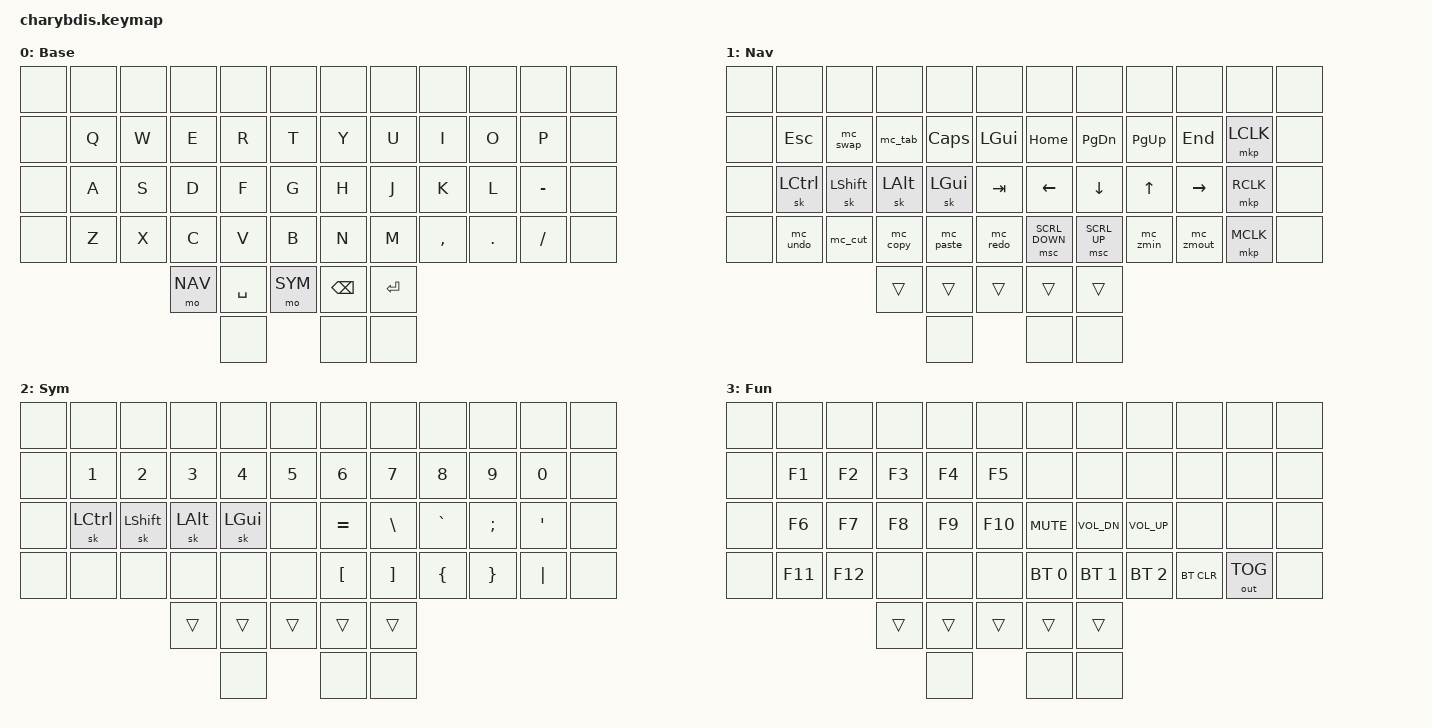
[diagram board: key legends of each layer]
/*
 * Charybdis Nano OSM keymap
 * hold-tap 完全排除、Callum式 One-Shot ベース
 * Corne と同じ設計
 */

#include <dt-bindings/zmk/mouse.h>
#include <behaviors.dtsi>
#include <dt-bindings/zmk/bt.h>
#include <dt-bindings/zmk/keys.h>
#include <dt-bindings/zmk/outputs.h>

#define BASE 0
#define NAV  1
#define SYM  2
#define FUN  3

/ {
    // --- Macros ---
    macros {
        // Swapper（Cmd+Tab: キーを離すまでCmdを保持）
        mc_swap: mc_swap {
            compatible = "zmk,behavior-macro";
            #binding-cells = <0>;
            wait-ms = <30>;
            tap-ms = <30>;
            bindings = <&macro_press &kp LGUI>, <&macro_tap &kp TAB>, <&macro_pause_for_release>, <&macro_release &kp LGUI>;
        };
        // Tabber（Ctrl+Tab: キーを離すまでCtrlを保持）
        mc_tab: mc_tab {
            compatible = "zmk,behavior-macro";
            #binding-cells = <0>;
            wait-ms = <30>;
            tap-ms = <30>;
            bindings = <&macro_press &kp LCTRL>, <&macro_tap &kp TAB>, <&macro_pause_for_release>, <&macro_release &kp LCTRL>;
        };
        // Undo (Cmd+Z)
        mc_undo: mc_undo {
            compatible = "zmk,behavior-macro";
            #binding-cells = <0>;
            wait-ms = <30>;
            tap-ms = <30>;
            bindings = <&macro_press &kp LGUI>, <&macro_tap &kp Z>, <&macro_release &kp LGUI>;
        };
        // Cut (Cmd+X)
        mc_cut: mc_cut {
            compatible = "zmk,behavior-macro";
            #binding-cells = <0>;
            wait-ms = <30>;
            tap-ms = <30>;
            bindings = <&macro_press &kp LGUI>, <&macro_tap &kp X>, <&macro_release &kp LGUI>;
        };
        // Copy (Cmd+C)
        mc_copy: mc_copy {
            compatible = "zmk,behavior-macro";
            #binding-cells = <0>;
            wait-ms = <30>;
            tap-ms = <30>;
            bindings = <&macro_press &kp LGUI>, <&macro_tap &kp C>, <&macro_release &kp LGUI>;
        };
        // Paste (Cmd+V)
        mc_paste: mc_paste {
            compatible = "zmk,behavior-macro";
            #binding-cells = <0>;
            wait-ms = <30>;
            tap-ms = <30>;
            bindings = <&macro_press &kp LGUI>, <&macro_tap &kp V>, <&macro_release &kp LGUI>;
        };
        // Redo (Cmd+Shift+Z)
        mc_redo: mc_redo {
            compatible = "zmk,behavior-macro";
            #binding-cells = <0>;
            wait-ms = <30>;
            tap-ms = <30>;
            bindings = <&macro_press &kp LGUI>, <&macro_press &kp LSHFT>, <&macro_tap &kp Z>, <&macro_release &kp LSHFT>, <&macro_release &kp LGUI>;
        };
        // Zoom In (Cmd+=)
        mc_zmin: mc_zmin {
            compatible = "zmk,behavior-macro";
            #binding-cells = <0>;
            wait-ms = <30>;
            tap-ms = <30>;
            bindings = <&macro_press &kp LGUI>, <&macro_tap &kp EQUAL>, <&macro_release &kp LGUI>;
        };
        // Zoom Out (Cmd+-)
        mc_zmout: mc_zmout {
            compatible = "zmk,behavior-macro";
            #binding-cells = <0>;
            wait-ms = <30>;
            tap-ms = <30>;
            bindings = <&macro_press &kp LGUI>, <&macro_tap &kp MINUS>, <&macro_release &kp LGUI>;
        };
    };

    // --- Combos ---
    // Charybdis key positions:
    // Row 0:  0  1  2  3  4  5  |  6  7  8  9 10 11  (unused)
    // Row 1: 12 13 14 15 16 17  | 18 19 20 21 22 23
    // Row 2: 24 25 26 27 28 29  | 30 31 32 33 34 35
    // Row 3: 36 37 38 39 40 41  | 42 43 44 45 46 47
    // Thumb:       48 49 50     |    51 52
    //              NAV SPC SYM  |  BSPC ENT
    // Extra:          53        |    54 55
    combos {
        compatible = "zmk,combos";


        // J + K → Caps Word（2026-11-12 緒方さん指示でコンボ化）
        // 旧: NAV層のキーに置いていた / 旧 D+F の tmux prefix コンボは廃止（「pdf」で誤発火）
        combo_caps_word {
            timeout-ms = <80>;
            require-prior-idle-ms = <150>;
            key-positions = <31 32>;
            bindings = <&caps_word>;
            layers = <BASE>;
        };

        // SPC(49) + BSPC(51) → LNG1 (IME ON)
        combo_lng1 {
            timeout-ms = <50>;
            require-prior-idle-ms = <150>;
            key-positions = <49 51>;
            bindings = <&kp LANGUAGE_1>;
            layers = <BASE>;
        };

        // BSPC(51) + ENT(52) → LNG2 (IME OFF)
        combo_lng2 {
            timeout-ms = <50>;
            require-prior-idle-ms = <150>;
            key-positions = <51 52>;
            bindings = <&kp LANGUAGE_2>;
            layers = <BASE>;
        };

        // --- ブートローダー / リセット（物理リセットボタンの代替） ---
        // 押しづらい基板上のリセットボタンを3キー同時押しで代替する。
        // 「上段の最外列 ＋ 下段の最内列」の2キーは共通で、**親指をずらすだけ**で
        // bootloader / sys_reset を切り替える（指の形がほぼ同じで覚えやすい）。
        //
        //   親指 内側         → &bootloader（焼き用・リセットボタン2回押し相当）
        // ⚠️ 親指の物理配置（2026-11-12 緒方さん確認。キーマップの並び順と内外が逆）:
        //     左手 [NAV][SPC][SYM] │ 中央 │ [BSPC][ENT] 右手
        //           外側 →→→ 内側          内側 ←←← 外側
        //   ＝ **内側(中央寄り)は 左=SYM / 右=BSPC**。NAV は左の一番外側。
        //   親指 内側から2番目 → &sys_reset （再起動・リセットボタン1回押し相当）
        //
        // ★各コンボは「同じ半身のキーだけ」で構成している。USBで片側だけ繋いで焼く
        //   運用でも、その半身単独で起動できる（相手側は不要）。
        // ★layers を指定せず全レイヤーで有効（焼きたい時にレイヤーを意識しないため）。
        // ★右の親指は2キー(51 BSPC/52 ENT)しかなく「真ん中」が無いので、左右は
        //   「内側から何番目か」で対称を取っている。
        // 3キーなので timeout は 2キーコンボより緩める。

        // bootloader — 左半身: Q(13) + B(41) + SYM(50=親指内側＝中央寄り)
        combo_boot_left {
            timeout-ms = <100>;
            require-prior-idle-ms = <250>;
            key-positions = <13 41 50>;
            bindings = <&bootloader>;
        };

        // bootloader — 右半身: P(22) + N(42) + BSPC(51=親指内側＝中央寄り)
        combo_boot_right {
            timeout-ms = <100>;
            require-prior-idle-ms = <250>;
            key-positions = <22 42 51>;
            bindings = <&bootloader>;
        };

        // sys_reset — 左半身: Q(13) + B(41) + SPC(49=内側から2番目)
        combo_reset_left {
            timeout-ms = <100>;
            require-prior-idle-ms = <250>;
            key-positions = <13 41 49>;
            bindings = <&sys_reset>;
        };

        // sys_reset — 右半身: P(22) + N(42) + ENT(52=内側から2番目)
        combo_reset_right {
            timeout-ms = <100>;
            require-prior-idle-ms = <250>;
            key-positions = <22 42 52>;
            bindings = <&sys_reset>;
        };

    };

    // --- Conditional Layer (NAV + SYM = FUN) ---
    conditional_layers {
        compatible = "zmk,conditional-layers";
        tri_layer {
            if-layers = <NAV SYM>;
            then-layer = <FUN>;
        };
    };

    // --- Keymap ---
    keymap {
        compatible = "zmk,keymap";

        // Base Layer
        //   ---  ---  ---  ---  ---  --- │  ---  ---  ---  ---  ---  ---
        //   ---  Q    W    E    R    T   │  Y    U    I    O    P    ---
        //   ---  A    S    D    F    G   │  H    J    K    L    -    ---
        //   ---  Z    X    C    V    B   │  N    M    ,    .    /    ---
        //             NAV  SPC  SYM      │      BSPC ENT
        //                  ---           │       --- ---
        BASE_layer {
            display-name = "Base";
            bindings = <
&none  &none  &none  &none    &none    &none       &none     &none    &none      &none    &none      &none
&none  &kp Q  &kp W  &kp E    &kp R    &kp T       &kp Y     &kp U    &kp I      &kp O    &kp P      &none
&none  &kp A  &kp S  &kp D    &kp F    &kp G       &kp H     &kp J    &kp K      &kp L    &kp MINUS  &none
&none  &kp Z  &kp X  &kp C    &kp V    &kp B       &kp N     &kp M    &kp COMMA  &kp DOT  &kp FSLH   &none
                     &mo NAV  &kp SPC  &mo SYM     &kp BSPC  &kp RET
                              &none                &none     &none
            >;
        };

        // NAV Layer（左内側親指）
        //   ---  ---  ---  ---  ---  --- │  ---  ---  ---  ---  ---  ---
        //   ---  ESC  SWAP STAB CAPS GUI │  HOME PGDN PGUP END  LCLK ---
        //   --- skCTL skSFT skALT skGUI TAB│ LEFT DOWN UP  RGHT RCLK ---
        //   ---  UNDO CUT  COPY PST REDO │  SCRDN SCRUP ZM+  ZM-  MCLK ---
        //             ___  ___  ___      │      ___  ___
        //                  ---           │       --- ---
        //
        // ★ NAV中はトラックボール＝2軸スクロール（charybdis_right.overlay の nav_scroller）。
        //   上段5列目の &kp LGUI は「押しっぱなしできる⌘」。NAV＋⌘＋ボールで ⌘+スクロール
        //   ＝埋め込みGoogleマップ等の“ピンチ相当”縮尺ズームになる（sk LGUI は1キーで消費
        //   されるためボール操作には乗らない。そのため素の &kp を併設している）。
        NAV_layer {
            display-name = "Nav";
            bindings = <
&none  &none      &none      &none      &none      &none          &none          &none          &none          &none          &none      &none
&none  &kp ESC    &mc_swap   &mc_tab    &kp CAPS   &kp LGUI       &kp HOME       &kp PG_DN      &kp PG_UP      &kp END        &mkp LCLK  &none
&none  &sk LCTRL  &sk LSHFT  &sk LALT   &sk LGUI   &kp TAB        &kp LEFT       &kp DOWN       &kp UP         &kp RIGHT      &mkp RCLK  &none
&none  &mc_undo   &mc_cut    &mc_copy   &mc_paste  &mc_redo       &msc SCRL_DOWN &msc SCRL_UP   &mc_zmin       &mc_zmout      &mkp MCLK  &none
                             &trans     &trans     &trans         &trans         &trans
                                        &none                     &none          &none
            >;
        };

        // SYM Layer（左外側親指）
        //   ---  ---  ---  ---  ---  --- │  ---  ---  ---  ---  ---  ---
        //   ---  1    2    3    4    5   │  6    7    8    9    0    ---
        //   --- skCTL skSFT skALT skGUI ---│  =    \    `    ;    '   ---
        //   ---  ---  ---  ---  ---  --- │  [    ]    {    }    |    ---
        //             ___  ___  ___      │      ___  ___
        //                  ---           │       --- ---
        SYM_layer {
            display-name = "Sym";
            bindings = <
&none  &none      &none      &none     &none     &none        &none      &none     &none      &none     &none     &none
&none  &kp N1     &kp N2     &kp N3    &kp N4    &kp N5       &kp N6     &kp N7    &kp N8     &kp N9    &kp N0    &none
&none  &sk LCTRL  &sk LSHFT  &sk LALT  &sk LGUI  &none        &kp EQUAL  &kp BSLH  &kp GRAVE  &kp SEMI  &kp SQT   &none
&none  &none      &none      &none     &none     &none        &kp LBKT   &kp RBKT  &kp LBRC   &kp RBRC  &kp PIPE  &none
                             &trans    &trans    &trans       &trans     &trans
                                       &none                  &none      &none
            >;
        };

        // FUN Layer（NAV + SYM 同時）
        //   ---  ---  ---  ---  ---  --- │  ---  ---  ---  ---  ---  ---
        //   ---  F1   F2   F3   F4   F5  │  ---  ---  ---  ---  ---  ---
        //   ---  F6   F7   F8   F9   F10 │  MUTE VOLD VOLU ---  ---  ---
        //   ---  F11  F12  ---  ---  --- │  BT0  BT1  BT2  BTCLR OUTTOG ---
        //             ___  ___  ___      │      ___  ___
        //                  ---           │       --- ---
        FUN_layer {
            display-name = "Fun";
            bindings = <
&none  &none    &none    &none   &none   &none        &none         &none         &none         &none       &none         &none
&none  &kp F1   &kp F2   &kp F3  &kp F4  &kp F5       &none         &none         &none         &none       &none         &none
&none  &kp F6   &kp F7   &kp F8  &kp F9  &kp F10      &kp K_MUTE    &kp K_VOL_DN  &kp K_VOL_UP  &none       &none         &none
&none  &kp F11  &kp F12  &none   &none   &none        &bt BT_SEL 0  &bt BT_SEL 1  &bt BT_SEL 2  &bt BT_CLR  &out OUT_TOG  &none
                         &trans  &trans  &trans       &trans        &trans
                                 &none                &none         &none
            >;
        };
    };
};

// --- One-Shot Modifier 設定 ---
&sk {
    release-after-ms = <2000>;
};

// --- スクロール速度 ---
&msc {
    time-to-max-speed-ms = <300>;
    acceleration-exponent = <1>;
};
